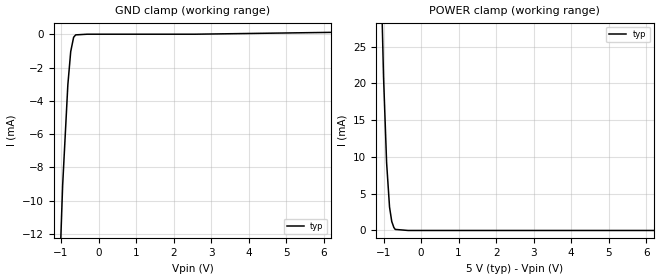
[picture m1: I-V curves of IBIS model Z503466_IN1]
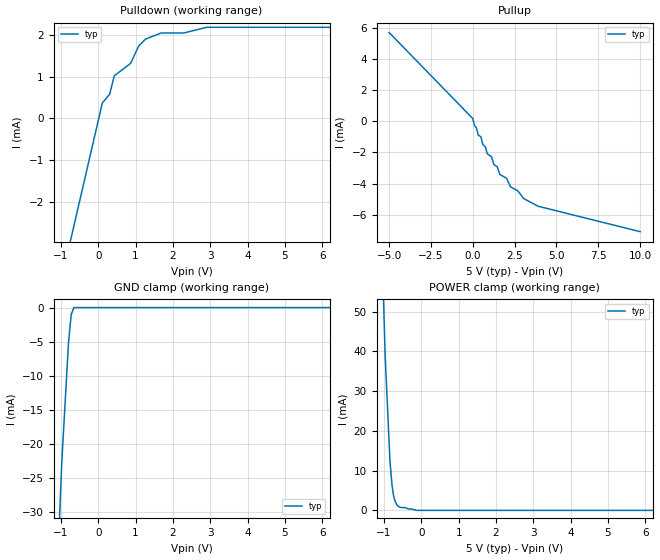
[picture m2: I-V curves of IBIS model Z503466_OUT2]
| YOU ARE ONLY AUTHORIZED TO USE THIS SOFTWARE
| ACCORDING TO LICENSOR'S LICENSE RESTRICTIONS.
[IBIS Ver] 3.1
[File Name] mc14011bd.ibs
[File Rev] 2.0
[Source] Measured and created by ICX Technology
[Date] Friday 7/14/00 9:07:51 AM
[Copyright]
| (C) COPYRIGHT 1993-2000
| MENTOR GRAPHICS CORPORATION
| ICX STANDARD LIBRARY, ICX PROJECT MODELING,
| ICX CUSTOM MODELING, ICX VENDOR MODEL
| ALL RIGHTS RESERVED.
| THE FOLLOWING ARE TRADEMARKS OR SERVICE MARKS OF
| MENTOR GRAPHICS CORPORATION:ICX (R), ICX STANDARD
| LIBRARY(R), ICX PROJECT MODELING(R), ICX CUSTOM
| MODELING(R), qualityIBIS(TM), MODELVIEWER(TM),
| AND MODELEDITOR(TM)
| ALL COPIES OF SOFTWARE, INCLUDING BUT NOT LIMITED TO
| ANY MODIFICATIONS, ENHANCEMENTS OR DERIVATIVE WORKS,
| MUST CONTAIN ALL MENTOR GRAPHICS CORPORATION'S
| NOTICES AND LEGENDS, INCLUDING THOSE EMBEDDED IN
| SOFTWARE AND THOSE AFFIXED TO SOFTWARE MEDIUM
| AND CONTAINER, AS RECEIVED FROM MENTOR GRAPHICS
| CORPORATION.
|  ZAP Model Builder 2.7
[Component] MC14011BD
[Manufacturer] OnSemiconductor
[Package]
| variable   typ   min   max
R_pkg  .155ohms NA NA
L_pkg  3.028nH NA NA
C_pkg  .381pF NA NA
[Pin] signal_name  model_name  R_pin  L_pin C_pin
1 IN1A Z503466_IN1 .16 3.587n .407p
2 IN2A Z503466_IN1 .156 3.147n .387p
3 OUTA Z503466_OUT2 .152 2.717n .367p
4 OUTB Z503466_OUT2 .148 2.297n .347p
5 IN1B Z503466_IN1 .152 2.717n .367p
6 IN2B Z503466_IN1 .156 3.147n .387p
7 VSS POWER .16 3.587n .407p
8 IN1C Z503466_IN1 .16 3.587n .407p
9 IN2C Z503466_IN1 .156 3.147n .387p
10 OUTC Z503466_OUT2 .152 2.717n .367p
11 OUTD Z503466_OUT2 .148 2.297n .347p
12 IN1D Z503466_IN1 .152 2.717n .367p
13 IN2D Z503466_IN1 .156 3.147n .387p
14 VDD POWER .16 3.587n .407p
| Models and submodels in the file (2): Z503466_IN1 (Input), Z503466_OUT2 (Output)
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| (C) COPYRIGHT 1993-2000
| MENTOR GRAPHICS CORPORATION
| ICX STANDARD LIBRARY, ICX PROJECT MODELING,
| ICX CUSTOM MODELING, ICX VENDOR MODEL
| ALL RIGHTS RESERVED.
| THE FOLLOWING ARE TRADEMARKS OR SERVICE MARKS OF
| MENTOR GRAPHICS CORPORATION:ICX (R), ICX STANDARD
| LIBRARY(R), ICX PROJECT MODELING(R), ICX CUSTOM
| MODELING(R), qualityIBIS(TM), MODELVIEWER(TM),
| AND MODELEDITOR(TM)
| ALL COPIES OF SOFTWARE, INCLUDING BUT NOT LIMITED TO
| ANY MODIFICATIONS, ENHANCEMENTS OR DERIVATIVE WORKS,
| MUST CONTAIN ALL MENTOR GRAPHICS CORPORATION'S
| NOTICES AND LEGENDS, INCLUDING THOSE EMBEDDED IN
| SOFTWARE AND THOSE AFFIXED TO SOFTWARE MEDIUM
| AND CONTAINER, AS RECEIVED FROM MENTOR GRAPHICS
| CORPORATION.
| Model Application Version 1.89 2/18/99.
[Model] Z503466_IN1
Model_type Input
Vinl = 1.500V
Vinh = 3.500V
C_comp 4.000pF NA NA
| variable typ   min   max
[Voltage Range] 5.000V NA NA
[GND Clamp Reference] 0.000V NA NA
[POWER Clamp Reference] 5.000V NA NA
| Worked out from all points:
|   GND clamp passes 1 mA (typ) near -0.74 V on its own axis
|   POWER clamp passes 1 mA (typ) near -0.77 V on its own axis
[GND Clamp]
-5V       -389.3mA   NA         NA
-1.089V   -17.65mA   NA         NA
-957mV    -9.08mA    NA         NA
-818.5mV  -3.029mA   NA         NA
-742mV    -1.029mA   NA         NA
-664.9mV  -172.1uA   NA         NA
-610.4mV  -26.55uA   NA         NA
-305.2mV  14.49uA    NA         NA
2.572V    14.49uA    NA         NA
10V       241.5uA    NA         NA
[POWER Clamp]
-5V       860.3mA    NA         NA
-1V       20.91mA    NA         NA
-918mV    9.204mA    NA         NA
-840mV    3.178mA    NA         NA
-781mV    1.219mA    NA         NA
-725mV    413.1uA    NA         NA
-689mV    146.7uA    NA         NA
-344.5mV  0A         NA         NA
10V       0A         NA         NA
| (C) COPYRIGHT 1993-2000
| MENTOR GRAPHICS CORPORATION
| ICX STANDARD LIBRARY, ICX PROJECT MODELING,
| ICX CUSTOM MODELING, ICX VENDOR MODEL
| ALL RIGHTS RESERVED.
| THE FOLLOWING ARE TRADEMARKS OR SERVICE MARKS OF
| MENTOR GRAPHICS CORPORATION:ICX (R), ICX STANDARD
| LIBRARY(R), ICX PROJECT MODELING(R), ICX CUSTOM
| MODELING(R), qualityIBIS(TM), MODELVIEWER(TM),
| AND MODELEDITOR(TM)
| ALL COPIES OF SOFTWARE, INCLUDING BUT NOT LIMITED TO
| ANY MODIFICATIONS, ENHANCEMENTS OR DERIVATIVE WORKS,
| MUST CONTAIN ALL MENTOR GRAPHICS CORPORATION'S
| NOTICES AND LEGENDS, INCLUDING THOSE EMBEDDED IN
| SOFTWARE AND THOSE AFFIXED TO SOFTWARE MEDIUM
| AND CONTAINER, AS RECEIVED FROM MENTOR GRAPHICS
| CORPORATION.
| Model Application Version 1.89 2/18/99.
[Model] Z503466_OUT2
Model_type Output
Vref=0.000V
Rref=500.0Mohms
Cref=50.00pF
Vmeas=2.500V
C_comp 8.000pF NA NA
| variable typ   min   max
[Voltage Range] 5.000V NA NA
[POWER Clamp Reference] 5.000V NA NA
[Pullup Reference] 5.000V NA NA
[Pulldown Reference] 0.000V NA NA
[GND Clamp Reference] 0.000V NA NA
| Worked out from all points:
|   slope of the pulldown table from 0 to 0.75 V, typ, clamps not added: 584 ohm
|   slope of the pullup table from 0 to 0.75 V, typ, clamps not added: 412 ohm
|   GND clamp passes 1 mA (typ) near -0.72 V on its own axis
|   POWER clamp passes 1 mA (typ) near -0.61 V on its own axis
[GND Clamp]
-5V       -748.1mA   NA         NA
-1.172V   -49.21mA   NA         NA
-980.6mV  -22.85mA   NA         NA
-800.8mV  -5.342mA   NA         NA
-727.6mV  -1.05mA    NA         NA
-654.8mV  0A         NA         NA
10V       0A         NA         NA
[Pulldown]
-5V       -19.33mA   NA         NA
107.1mV   367.1uA    NA         NA
305.9mV   580.4uA    NA         NA
428.2mV   1.02mA     NA         NA
864.3mV   1.315mA    NA         NA
1.084V    1.733mA    NA         NA
1.264V    1.896mA    NA         NA
1.682V    2.042mA    NA         NA
2.291V    2.042mA    NA         NA
2.9V      2.178mA    NA         NA
10V       2.178mA    NA         NA
[Pullup]
-5V       5.688mA    NA         NA
5mV       168.6uA    NA         NA
323mV     -883.2uA   NA         NA
484mV     -996.3uA   NA         NA
859mV     -2.074mA   NA         NA
1.123V    -2.281mA   NA         NA
1.257V    -2.773mA   NA         NA
1.456V    -2.912mA   NA         NA
1.617V    -3.41mA    NA         NA
3.052V    -4.962mA   NA         NA
3.907V    -5.448mA   NA         NA
10V       -7.075mA   NA         NA
[POWER Clamp]
-5V       1.539A     NA         NA
-1.133V   92.55mA    NA         NA
-971mV    39.27mA    NA         NA
-840mV    12.25mA    NA         NA
-786mV    6.353mA    NA         NA
-747mV    3.838mA    NA         NA
-708mV    2.421mA    NA         NA
-652mV    1.31mA     NA         NA
-576mV    770.7uA    NA         NA
-435mV    696.2uA    NA         NA
-127mV    0A         NA         NA
10V       0A         NA         NA
[Ramp]
| variable typ min max
dV/dt_r 2.532/17.28n NA NA
dV/dt_f 2.532/13.33n NA NA
R_load = 2.500kOhms
